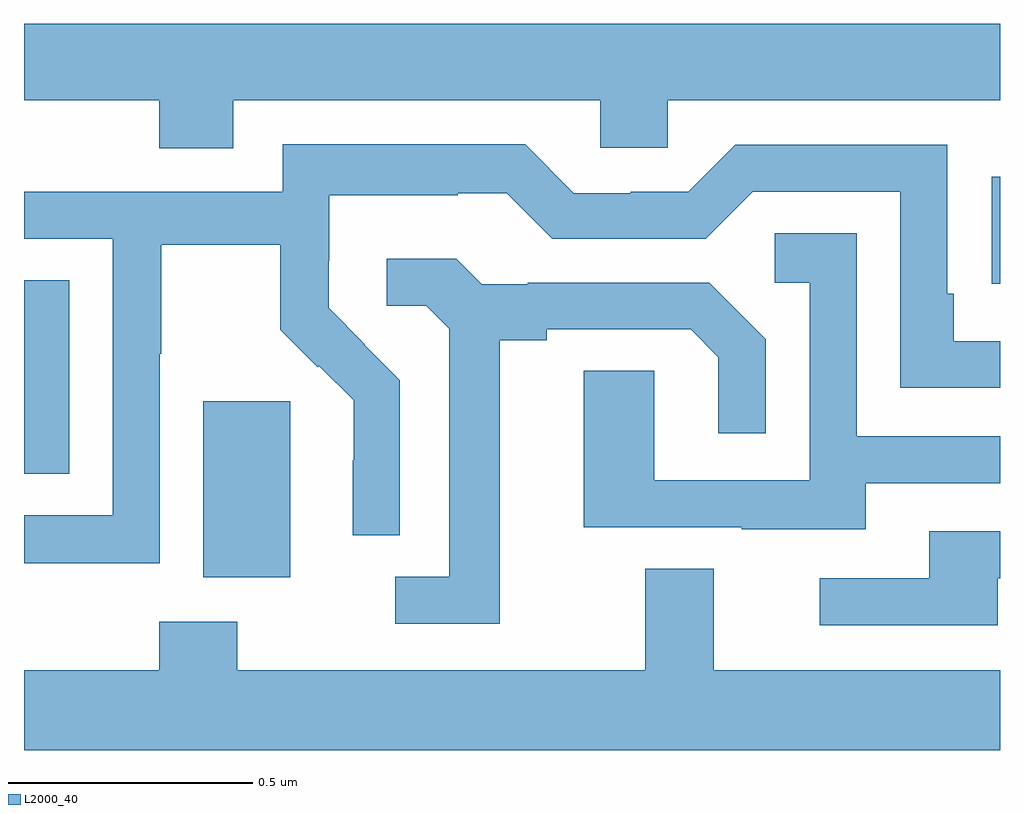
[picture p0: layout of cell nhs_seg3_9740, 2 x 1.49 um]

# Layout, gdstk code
import gdstk
lib = gdstk.Library(unit=1e-6, precision=1e-09)
def R(c, l, rs):  # rectangles x0, y0, x1, y1
    for r in rs: c.add(gdstk.rectangle(r[:2], r[2:], *l))
def P(c, l, *ps):  # polygons
    for p in ps: c.add(gdstk.Polygon(p, *l))
L2000_40 = (2000, 40)

nhs_seg3_9740 = lib.new_cell('nhs_seg3_9740')
R(nhs_seg3_9740, L2000_40, [(232.367,705.266,232.546,705.627), (232,705.478,232.093,705.875), (233.983,705.868,234,706.087)])
P(nhs_seg3_9740, L2000_40, [(232,706.244),(232.277,706.244),(232.277,706.145),(232.429,706.145),(232.429,706.244),(233.181,706.244),(233.181,706.146),(233.319,706.146),(233.319,706.244),(234,706.244),(234,706.4),(232,706.4)],
  [(232.278,705.724),(232.281,705.724),(232.281,705.948),(232.525,705.948),(232.525,705.773),(232.602,705.696),(232.605,705.699),(232.676,705.629),(232.676,705.506),(232.674,705.506),(232.674,705.352),(232.77,705.352),(232.77,705.67),(232.697,705.743),(232.698,705.744),(232.624,705.818),(232.624,705.915),(232.626,705.915),(232.626,706.049),(232.889,706.049),(232.889,706.053),(232.989,706.053),(233.082,705.96),(233.397,705.96),(233.493,706.056),(233.796,706.056),(233.796,705.654),(234,705.654),(234,705.75),(233.905,705.75),(233.905,705.847),(233.892,705.847),(233.892,706.152),(233.457,706.152),(233.361,706.056),(233.243,706.056),(233.243,706.053),(233.127,706.053),(233.027,706.153),(232.53,706.153),(232.53,706.056),(232,706.056),(232,705.96),(232.182,705.96),(232.182,705.393),(232,705.393),(232,705.295),(232.278,705.295)],
  [(233.725,705.459),(234,705.459),(234,705.555),(233.706,705.555),(233.706,705.971),(233.538,705.971),(233.538,705.87),(233.61,705.87),(233.61,705.465),(233.292,705.465),(233.292,705.689),(233.147,705.689),(233.147,705.369),(233.471,705.369),(233.471,705.365),(233.725,705.365)],
  [(232.975,705.752),(233.071,705.752),(233.071,705.774),(233.366,705.774),(233.423,705.717),(233.423,705.561),(233.52,705.561),(233.52,705.754),(233.404,705.87),(233.032,705.87),(233.032,705.867),(232.938,705.867),(232.886,705.919),(232.743,705.919),(232.743,705.822),(232.824,705.822),(232.871,705.775),(232.871,705.267),(232.761,705.267),(232.761,705.171),(232.975,705.171)],
  [(233.995,705.264),(234,705.264),(234,705.36),(233.855,705.36),(233.855,705.264),(233.631,705.264),(233.631,705.168),(233.995,705.168)],
  [(234,705.076),(233.413,705.076),(233.413,705.284),(233.273,705.284),(233.273,705.076),(232.437,705.076),(232.437,705.175),(232.277,705.175),(232.277,705.076),(232,705.076),(232,704.912),(234,704.912)])

lib.write_gds('nhs_seg3_9740.gds')
